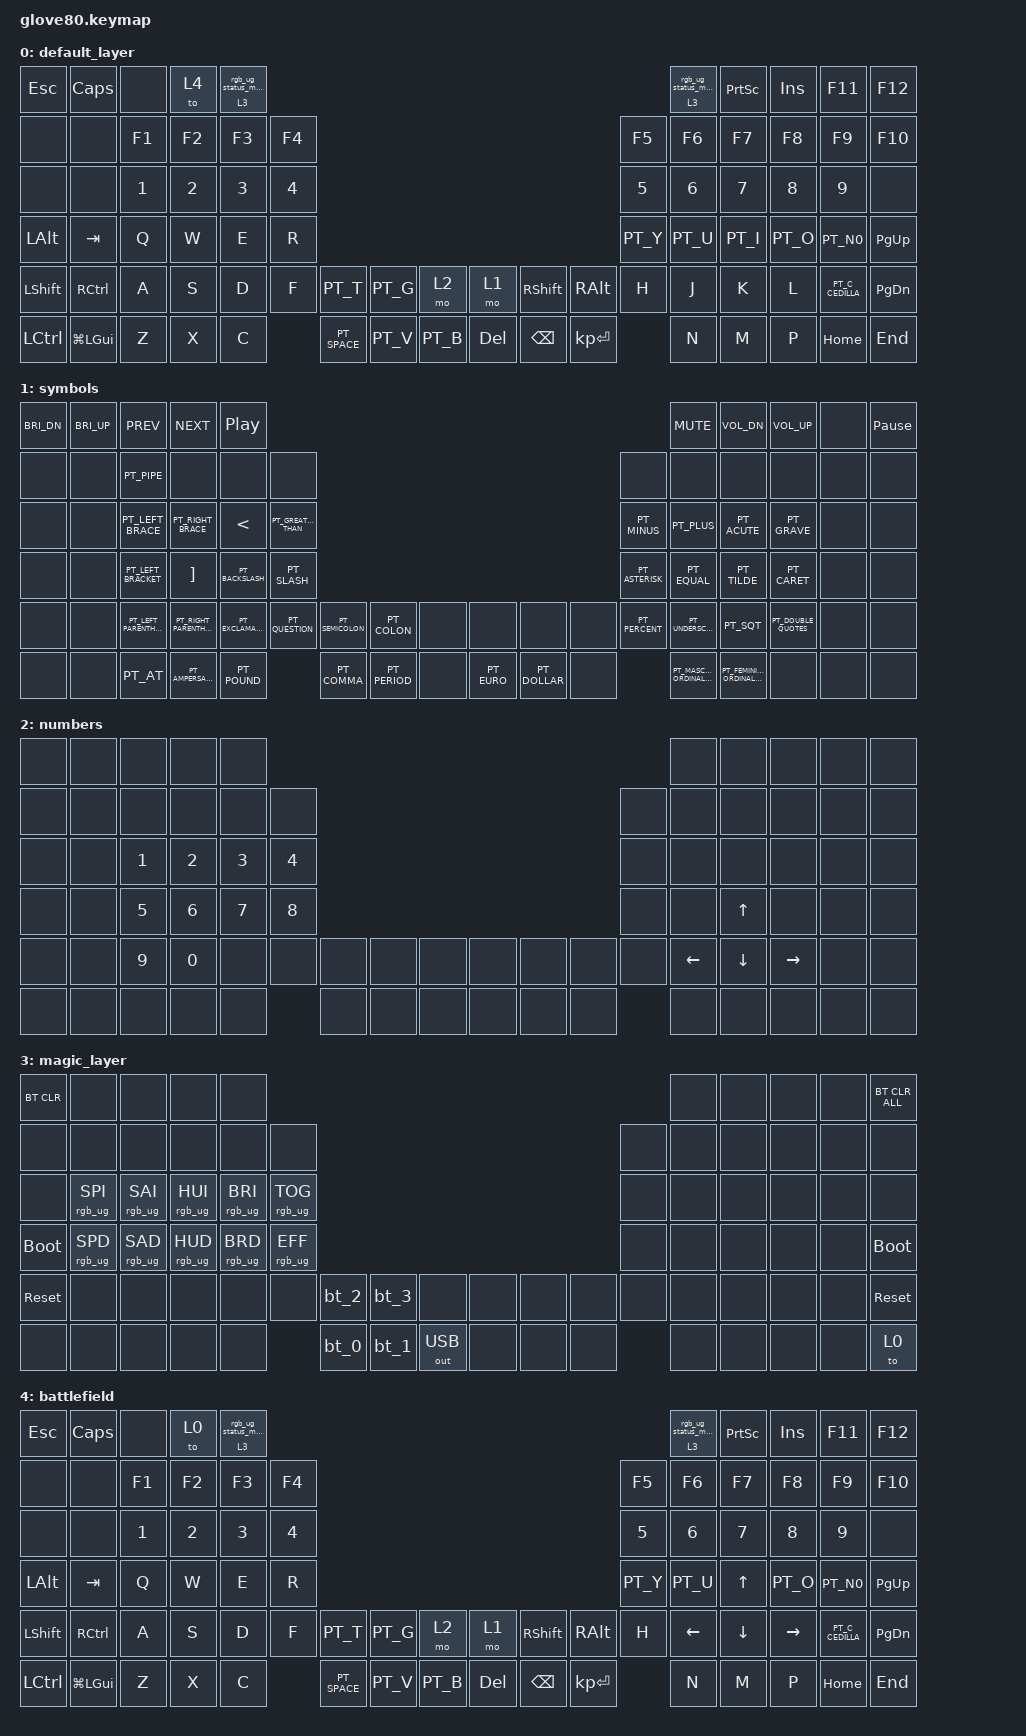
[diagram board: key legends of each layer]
/*
 * Copyright (c) 2020 The ZMK Contributors
 *
 * SPDX-License-Identifier: MIT
 */

#include "keys_pt.h"
#include <behaviors.dtsi>
#include <dt-bindings/zmk/bt.h>
#include <dt-bindings/zmk/keys.h>
#include <dt-bindings/zmk/outputs.h>
#include <dt-bindings/zmk/rgb.h>

#define HYPER LC(LS(LG(LALT)))

// layers

#define DEFAULT 0
#define LOWER 1
#define MAGIC 2
#define FACTORY_TEST 3

/ {
    behaviors {
        // For the "layer" key, it'd nice to be able to use it as either a shift or a toggle.
        // Configure it as a tap dance, so the first tap (or hold) is a &mo and the second tap is a &to

        layer_td: tap_dance_0 {
            compatible = "zmk,behavior-tap-dance";
            label = "LAYER_TAP_DANCE";
            #binding-cells = <0>;
            tapping-term-ms = <200>;
            bindings = <&mo 0>, <&to 0>;
        };

        magic: magic_hold_tap {
            compatible = "zmk,behavior-hold-tap";
            label = "MAGIC_HOLD_TAP";
            #binding-cells = <2>;
            flavor = "tap-preferred";
            tapping-term-ms = <200>;
            bindings = <&mo>, <&rgb_ug_status_macro>;
        };
    };

    macros {
        rgb_ug_status_macro: rgb_ug_status_macro_0 {
            label = "RGB_UG_STATUS";
            compatible = "zmk,behavior-macro";
            #binding-cells = <0>;
            bindings = <&rgb_ug RGB_STATUS>;
        };

        bt_0: bt_profile_macro_0 {
            label = "BT_0";
            compatible = "zmk,behavior-macro";
            #binding-cells = <0>;
            bindings = <&out OUT_BLE &bt BT_SEL 0>;
        };

        bt_1: bt_profile_macro_1 {
            label = "BT_1";
            compatible = "zmk,behavior-macro";
            #binding-cells = <0>;
            bindings = <&out OUT_BLE &bt BT_SEL 1>;
        };

        bt_2: bt_profile_macro_2 {
            label = "BT_2";
            compatible = "zmk,behavior-macro";
            #binding-cells = <0>;
            bindings = <&out OUT_BLE &bt BT_SEL 2>;
        };

        bt_3: bt_profile_macro_3 {
            label = "BT_3";
            compatible = "zmk,behavior-macro";
            #binding-cells = <0>;
            bindings = <&out OUT_BLE &bt BT_SEL 3>;
        };
    };

    keymap {
        compatible = "zmk,keymap";

        default_layer {
            // ---------------------------------------------------------------------------------------------------------------------------------
            // |  F1   |  F2 |  F3 |  F4  |  F5  |                                                               |  F6   |  F7   |  F8  |   F9  |  F10 |
            // |  =    |  1  |  2  |  3   |  4   |  5   |                                                 |  6   |   7   |   8   |  9   |   0   |   -  |
            // |  TAB  |  Q  |  W  |  E   |  R   |  T   |                                                 |  Y   |   U   |   I   |  O   |   P   |   \  |
            // |  ESC  |  A  |  S  |  D   |  F   |  G   |                                                 |  H   |   J   |   K   |  L   |   ;   |   '  |
            // |   `   |  Z  |  X  |  C   |  V   |  B   | LSHFT | LCTRL | LOWER | | LGUI  | RCTRL | RSHFT |  N   |   M   |   ,   |  .   |   /   | PGUP |
            // | MAGIC | HOME| END | LEFT | RIGHT|      | BSPC  | DEL   | LALT  | | RALT  | RET   | SPACE |      |  UP   | DOWN  |  [   |   ]   | PGDN |

            bindings = <
&kp ESC         &kp CAPSLOCK  &none   &to 4   &magic 3 0                                                                                                  &magic 3 0  &kp PRINTSCREEN  &kp INSERT  &kp F11           &kp F12
&none           &none         &kp F1  &kp F2  &kp F3      &kp F4                                                                                &kp F5    &kp F6      &kp F7           &kp F8      &kp F9            &kp F10
&none           &none         &kp N1  &kp N2  &kp N3      &kp N4                                                                                &kp N5    &kp N6      &kp N7           &kp N8      &kp N9            &none
&kp LEFT_ALT    &kp TAB       &kp Q   &kp W   &kp E       &kp R                                                                                 &kp PT_Y  &kp PT_U    &kp PT_I         &kp PT_O    &kp PT_N0         &kp PG_UP
&kp LEFT_SHIFT  &kp RCTRL     &kp A   &kp S   &kp D       &kp F   &kp PT_T      &kp PT_G  &mo 2     &mo 1       &kp RIGHT_SHIFT  &kp RIGHT_ALT  &kp H     &kp J       &kp K            &kp L       &kp PT_C_CEDILLA  &kp PG_DN
&kp LCTRL       &kp LG(LGUI)  &kp Z   &kp X   &kp C               &kp PT_SPACE  &kp PT_V  &kp PT_B  &kp DELETE  &kp BACKSPACE    &kp KP_ENTER             &kp N       &kp M            &kp P       &kp HOME          &kp END
            >;
        };

        symbols {
            bindings = <
&kp C_BRI_DN  &kp C_BRI_UP  &kp C_PREV               &kp C_NEXT                &kp C_PP                                                                                                                             &kp C_MUTE                          &kp C_VOL_DN                       &kp C_VOL_UP          &none  &kp PAUSE_BREAK
&none         &none         &kp PT_PIPE              &none                     &none               &none                                                                                           &none            &none                               &none                              &none                 &none  &none
&none         &none         &kp PT_LEFT_BRACE        &kp PT_RIGHT_BRACE        &kp LESS_THAN       &kp PT_GREATER_THAN                                                                             &kp PT_MINUS     &kp PT_PLUS                         &kp PT_ACUTE                       &kp PT_GRAVE          &none  &none
&none         &none         &kp PT_LEFT_BRACKET      &kp RIGHT_BRACKET         &kp PT_BACKSLASH    &kp PT_SLASH                                                                                    &kp PT_ASTERISK  &kp PT_EQUAL                        &kp PT_TILDE                       &kp PT_CARET          &none  &none
&none         &none         &kp PT_LEFT_PARENTHESIS  &kp PT_RIGHT_PARENTHESIS  &kp PT_EXCLAMATION  &kp PT_QUESTION      &kp PT_SEMICOLON  &kp PT_COLON   &none  &none        &none          &none  &kp PT_PERCENT   &kp PT_UNDERSCORE                   &kp PT_SQT                         &kp PT_DOUBLE_QUOTES  &none  &none
&none         &none         &kp PT_AT                &kp PT_AMPERSAND          &kp PT_POUND                             &kp PT_COMMA      &kp PT_PERIOD  &none  &kp PT_EURO  &kp PT_DOLLAR  &none                   &kp PT_MASCULINE_ORDINAL_INDICATOR  &kp PT_FEMININE_ORDINAL_INDICATOR  &none                 &none  &none
            >;
        };

        numbers {
            bindings = <
&none  &none  &none   &none   &none                                                            &none     &none     &none      &none  &none
&none  &none  &none   &none   &none   &none                                             &none  &none     &none     &none      &none  &none
&none  &none  &kp N1  &kp N2  &kp N3  &kp N4                                            &none  &none     &none     &none      &none  &none
&none  &none  &kp N5  &kp N6  &kp N7  &kp N8                                            &none  &none     &kp UP    &none      &none  &none
&none  &none  &kp N9  &kp N0  &none   &none   &none  &none  &none  &none  &none  &none  &none  &kp LEFT  &kp DOWN  &kp RIGHT  &none  &none
&none  &none  &none   &none   &none           &none  &none  &none  &none  &none  &none         &none     &none     &none      &none  &none
            >;
        };

        magic_layer {
            bindings = <
&bt BT_CLR   &none            &none            &none            &none                                                                                     &none  &none  &none  &none  &bt BT_CLR_ALL
&none        &none            &none            &none            &none            &none                                                             &none  &none  &none  &none  &none  &none
&none        &rgb_ug RGB_SPI  &rgb_ug RGB_SAI  &rgb_ug RGB_HUI  &rgb_ug RGB_BRI  &rgb_ug RGB_TOG                                                   &none  &none  &none  &none  &none  &none
&bootloader  &rgb_ug RGB_SPD  &rgb_ug RGB_SAD  &rgb_ug RGB_HUD  &rgb_ug RGB_BRD  &rgb_ug RGB_EFF                                                   &none  &none  &none  &none  &none  &bootloader
&sys_reset   &none            &none            &none            &none            &none            &bt_2  &bt_3  &none         &none  &none  &none  &none  &none  &none  &none  &none  &sys_reset
&none        &none            &none            &none            &none                             &bt_0  &bt_1  &out OUT_USB  &none  &none  &none         &none  &none  &none  &none  &to 0
            >;
        };

        battlefield {
            bindings = <
&kp ESC         &kp CAPSLOCK  &none   &to 0   &magic 3 0                                                                                                  &magic 3 0  &kp PRINTSCREEN  &kp INSERT  &kp F11           &kp F12
&none           &none         &kp F1  &kp F2  &kp F3      &kp F4                                                                                &kp F5    &kp F6      &kp F7           &kp F8      &kp F9            &kp F10
&none           &none         &kp N1  &kp N2  &kp N3      &kp N4                                                                                &kp N5    &kp N6      &kp N7           &kp N8      &kp N9            &none
&kp LEFT_ALT    &kp TAB       &kp Q   &kp W   &kp E       &kp R                                                                                 &kp PT_Y  &kp PT_U    &kp UP           &kp PT_O    &kp PT_N0         &kp PG_UP
&kp LEFT_SHIFT  &kp RCTRL     &kp A   &kp S   &kp D       &kp F   &kp PT_T      &kp PT_G  &mo 2     &mo 1       &kp RIGHT_SHIFT  &kp RIGHT_ALT  &kp H     &kp LEFT    &kp DOWN         &kp RIGHT   &kp PT_C_CEDILLA  &kp PG_DN
&kp LCTRL       &kp LG(LGUI)  &kp Z   &kp X   &kp C               &kp PT_SPACE  &kp PT_V  &kp PT_B  &kp DELETE  &kp BACKSPACE    &kp KP_ENTER             &kp N       &kp M            &kp P       &kp HOME          &kp END
            >;
        };
    };
};
